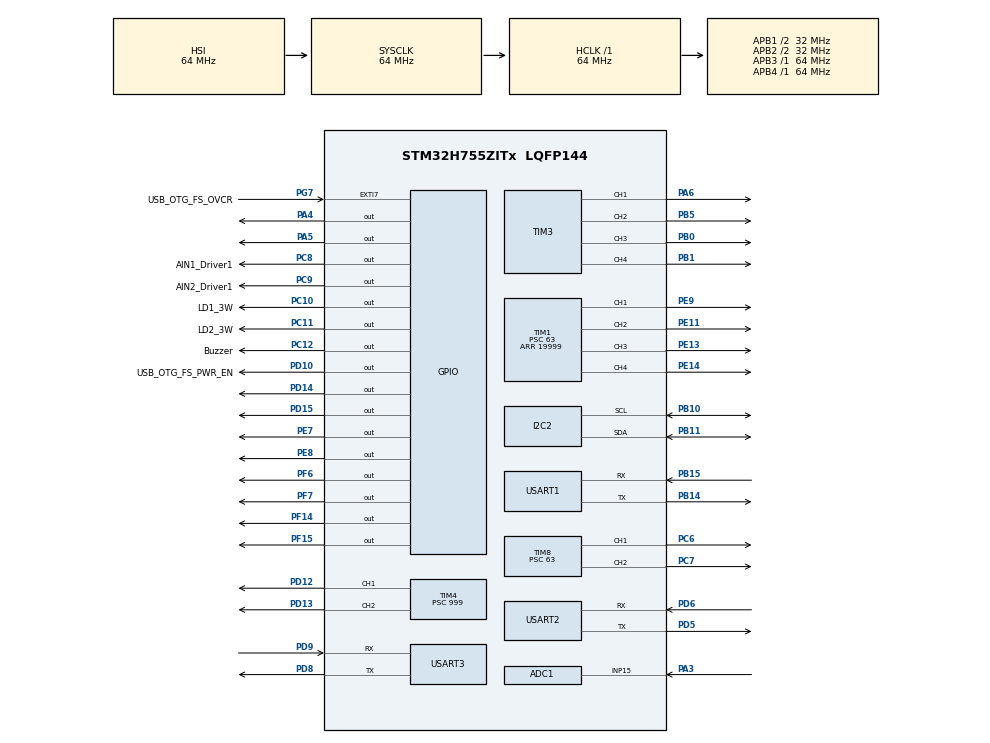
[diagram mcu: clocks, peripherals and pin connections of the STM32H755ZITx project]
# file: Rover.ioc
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ADC1.Channel-0\#ChannelRegularConversion=ADC_CHANNEL_15
ADC1.NbrOfConversionFlag=1
ADC1.OffsetNumber-0\#ChannelRegularConversion=ADC_OFFSET_NONE
ADC1.OffsetSignedSaturation-0\#ChannelRegularConversion=DISABLE
ADC1.Rank-0\#ChannelRegularConversion=1
ADC1.SamplingTime-0\#ChannelRegularConversion=ADC_SAMPLETIME_1CYCLE_5
ADC1.master=1
CortexM4.IPs=FATFS_M4\:I,FREERTOS_M4\:I,IWDG2\:I,RCC,WWDG2\:I,DMA,BDMA,MDMA,NVIC2\:I,ETH,USART3,DEBUG,PDM2PCM_M4\:I,PWR,RESMGR_UTILITY,SYS_M4\:I,USB_DEVICE_M4\:I,USB_HOST_M4\:I,CORTEX_M4\:I,GPIO,OPENAMP_M4\:I,VREFBUF,NUCLEO-H755ZI-Q
CortexM7.IPs=FATFS_M7\:I,FREERTOS_M7\:I,IWDG1\:I,RCC\:I,WWDG1\:I,DMA\:I,BDMA\:I,MDMA\:I,NVIC1\:I,ETH\:I,USART3\:I,USB_OTG_FS\:I,USB_OTG_FS1\:I,SYS\:I,CORTEX_M7\:I,DEBUG\:I,PDM2PCM_M7\:I,PWR\:I,RESMGR_UTILITY\:I,USB_DEVICE_M7\:I,USB_HOST_M7\:I,GPIO\:I,OPENAMP_M7\:I,VREFBUF\:I,NUCLEO-H755ZI-Q\:I,TIM1\:I,TIM3\:I,TIM4\:I,ADC1\:I,I2C2\:I,USART1\:I,USART2\:I,TIM8\:I,TIM6\:I
FREERTOS_M7.Tasks01=defaultTask,24,128,StartDefaultTask,Default,NULL,Dynamic,NULL,NULL
FREERTOS_M7.configUSE_NEWLIB_REENTRANT=1
I2C2.Timing=0x00707CBB
Mcu.Family=STM32H7
Mcu.Name=STM32H755ZITx
Mcu.Package=LQFP144
NVIC1.I2C2_ER_IRQn=true\:5\:0\:false\:false\:true\:true\:true\:true\:true
NVIC1.I2C2_EV_IRQn=true\:5\:0\:false\:false\:true\:true\:true\:true\:true
NVIC1.PriorityGroup=NVIC_PRIORITYGROUP_4
NVIC1.TIM6_DAC_IRQn=true\:15\:0\:false\:false\:true\:false\:false\:true\:true
NVIC1.TimeBase=TIM6_DAC_IRQn
NVIC1.TimeBaseIP=TIM6
NVIC2.PriorityGroup=NVIC_PRIORITYGROUP_4
PA1.PinAttribute=CortexM7
PA1.Signal=ETH_REF_CLK
PA11.PinAttribute=CortexM7
PA11.Signal=USB_OTG_FS_DM
PA12.PinAttribute=CortexM7
PA12.Signal=USB_OTG_FS_DP
PA13\ (JTMS/SWDIO).Mode=Serial_Wire
PA13\ (JTMS/SWDIO).PinAttribute=CortexM7
PA13\ (JTMS/SWDIO).Signal=DEBUG_JTMS-SWDIO
PA14\ (JTCK/SWCLK).Mode=Serial_Wire
PA14\ (JTCK/SWCLK).PinAttribute=CortexM7
PA14\ (JTCK/SWCLK).Signal=DEBUG_JTCK-SWCLK
PA2.PinAttribute=CortexM7
PA2.Signal=ETH_MDIO
PA3.PinAttribute=CortexM7
PA3.Signal=ADCx_INP15
PA4.PinAttribute=Free
PA4.Signal=GPIO_Output
PA5.PinAttribute=Free
PA5.Signal=GPIO_Output
PA6.PinAttribute=CortexM7
PA6.Signal=S_TIM3_CH1
PA7.PinAttribute=CortexM7
PA7.Signal=ETH_CRS_DV
PA8.PinAttribute=CortexM7
PA8.Signal=USB_OTG_FS_SOF
PA9.PinAttribute=CortexM7
PA9.Signal=USB_OTG_FS_VBUS
PB0.PinAttribute=CortexM7
PB0.Signal=S_TIM3_CH3
PB1.PinAttribute=CortexM7
PB1.Signal=S_TIM3_CH4
PB10.Mode=I2C
PB10.PinAttribute=CortexM7
PB10.Signal=I2C2_SCL
PB11.Mode=I2C
PB11.PinAttribute=CortexM7
PB11.Signal=I2C2_SDA
PB13.PinAttribute=CortexM7
PB13.Signal=ETH_TXD1
PB14.Mode=Asynchronous
PB14.PinAttribute=CortexM7
PB14.Signal=USART1_TX
PB15.Mode=Asynchronous
PB15.PinAttribute=CortexM7
PB15.Signal=USART1_RX
PB5.PinAttribute=CortexM7
PB5.Signal=S_TIM3_CH2
PC1.PinAttribute=CortexM7
PC1.Signal=ETH_MDC
PC10.GPIO_Label=LD1_3W
PC10.PinAttribute=Free
PC10.Signal=GPIO_Output
PC11.GPIO_Label=LD2_3W
PC11.PinAttribute=Free
PC11.Signal=GPIO_Output
PC12.GPIO_Label=Buzzer
PC12.PinAttribute=Free
PC12.Signal=GPIO_Output
PC14-OSC32_IN\ (OSC32_IN).PinAttribute=Free
PC14-OSC32_IN\ (OSC32_IN).Signal=RCC_OSC32_IN
PC15-OSC32_OUT\ (OSC32_OUT).PinAttribute=Free
PC15-OSC32_OUT\ (OSC32_OUT).Signal=RCC_OSC32_OUT
PC4.PinAttribute=CortexM7
PC4.Signal=ETH_RXD0
PC5.PinAttribute=CortexM7
PC5.Signal=ETH_RXD1
PC6.PinAttribute=CortexM7
PC6.Signal=S_TIM8_CH1
PC7.PinAttribute=CortexM7
PC7.Signal=S_TIM8_CH2
PC8.GPIO_Label=AIN1_Driver1
PC8.PinAttribute=Free
PC8.Signal=GPIO_Output
PC9.GPIO_Label=AIN2_Driver1
PC9.PinAttribute=Free
PC9.Signal=GPIO_Output
PD10.GPIO_Label=USB_OTG_FS_PWR_EN
PD10.PinAttribute=Free
PD10.Signal=GPIO_Output
PD12.PinAttribute=CortexM7
PD12.Signal=S_TIM4_CH1
PD13.PinAttribute=CortexM7
PD13.Signal=S_TIM4_CH2
PD14.PinAttribute=Free
PD14.Signal=GPIO_Output
PD15.PinAttribute=Free
PD15.Signal=GPIO_Output
PD5.Mode=Asynchronous
PD5.PinAttribute=CortexM7
PD5.Signal=USART2_TX
PD6.Mode=Asynchronous
PD6.PinAttribute=CortexM7
PD6.Signal=USART2_RX
PD8.Mode=Asynchronous
PD8.PinAttribute=CortexM7
PD8.Signal=USART3_TX
PD9.Mode=Asynchronous
PD9.PinAttribute=CortexM7
PD9.Signal=USART3_RX
PE11.PinAttribute=CortexM7
PE11.Signal=S_TIM1_CH2
PE13.PinAttribute=CortexM7
PE13.Signal=S_TIM1_CH3
PE14.PinAttribute=CortexM7
PE14.Signal=S_TIM1_CH4
PE7.PinAttribute=Free
PE7.Signal=GPIO_Output
PE8.PinAttribute=Free
PE8.Signal=GPIO_Output
PE9.PinAttribute=CortexM7
PE9.Signal=S_TIM1_CH1
PF14.PinAttribute=Free
PF14.Signal=GPIO_Output
PF15.PinAttribute=Free
PF15.Signal=GPIO_Output
PF6.PinAttribute=Free
PF6.Signal=GPIO_Output
PF7.PinAttribute=Free
PF7.Signal=GPIO_Output
PG11.PinAttribute=CortexM7
PG11.Signal=ETH_TX_EN
PG13.PinAttribute=CortexM7
PG13.Signal=ETH_TXD0
PG7.GPIO_Label=USB_OTG_FS_OVCR
PG7.PinAttribute=Free
PG7.Signal=GPXTI7
PH0-OSC_IN\ (PH0).PinAttribute=Free
PH0-OSC_IN\ (PH0).Signal=RCC_OSC_IN
PH1-OSC_OUT\ (PH1).PinAttribute=Free
PH1-OSC_OUT\ (PH1).Signal=RCC_OSC_OUT
ProjectManager.HeapSize=M4-0x200,M7-0x200
ProjectManager.StackSize=M4-0x400,M7-0x400
ProjectManager.TargetToolchain=STM32CubeIDE
RCC.ADCFreq_Value=80000000
RCC.APB1Freq_Value=32000000
RCC.APB2Freq_Value=32000000
RCC.APB3Freq_Value=64000000
RCC.APB4Freq_Value=64000000
RCC.CortexFreq_Value=64000000
RCC.D2PPRE1=RCC_APB1_DIV2
RCC.D2PPRE2=RCC_APB2_DIV2
RCC.DIVM1=5
RCC.DIVM2=4
RCC.DIVN1=48
RCC.DIVN2=10
RCC.DIVQ1=5
RCC.DIVR1=4
RCC.HCLKFreq_Value=64000000
RCC.PLL2FRACN=0
RCC.PLL3FRACN=0
RCC.PLLFRACN=0
RCC.SYSCLKFreq_VALUE=64000000
RCC.SupplySource=PWR_DIRECT_SMPS_SUPPLY
RCC.USBFreq_Value=122880000
SH.ADCx_INP15.0=ADC1_INP15,IN15-Single-Ended
SH.S_TIM1_CH1.0=TIM1_CH1,PWM Generation1 CH1
SH.S_TIM1_CH2.0=TIM1_CH2,PWM Generation2 CH2
SH.S_TIM1_CH3.0=TIM1_CH3,PWM Generation3 CH3
SH.S_TIM1_CH4.0=TIM1_CH4,PWM Generation4 CH4
SH.S_TIM3_CH1.0=TIM3_CH1,PWM Generation1 CH1
SH.S_TIM3_CH2.0=TIM3_CH2,PWM Generation2 CH2
SH.S_TIM3_CH3.0=TIM3_CH3,PWM Generation3 CH3
SH.S_TIM3_CH4.0=TIM3_CH4,PWM Generation4 CH4
SH.S_TIM4_CH1.0=TIM4_CH1,PWM Generation1 CH1
SH.S_TIM4_CH2.0=TIM4_CH2,PWM Generation2 CH2
SH.S_TIM8_CH1.0=TIM8_CH1,PWM Generation1 CH1
SH.S_TIM8_CH2.0=TIM8_CH2,PWM Generation2 CH2
TIM1.AutoReloadPreload=TIM_AUTORELOAD_PRELOAD_ENABLE
TIM1.Channel-PWM\ Generation1\ CH1=TIM_CHANNEL_1
TIM1.Channel-PWM\ Generation2\ CH2=TIM_CHANNEL_2
TIM1.Channel-PWM\ Generation3\ CH3=TIM_CHANNEL_3
TIM1.Channel-PWM\ Generation4\ CH4=TIM_CHANNEL_4
TIM1.Period=19999 
TIM1.Prescaler=63
TIM1.Pulse-PWM\ Generation1\ CH1=1500
TIM1.Pulse-PWM\ Generation2\ CH2=1500
TIM1.Pulse-PWM\ Generation3\ CH3=1500
TIM1.Pulse-PWM\ Generation4\ CH4=1500
TIM3.Channel-PWM\ Generation1\ CH1=TIM_CHANNEL_1
TIM3.Channel-PWM\ Generation2\ CH2=TIM_CHANNEL_2
TIM3.Channel-PWM\ Generation3\ CH3=TIM_CHANNEL_3
TIM3.Channel-PWM\ Generation4\ CH4=TIM_CHANNEL_4
TIM4.Channel-PWM\ Generation1\ CH1=TIM_CHANNEL_1
TIM4.Channel-PWM\ Generation2\ CH2=TIM_CHANNEL_2
TIM4.Period=1279
TIM4.Prescaler=999
TIM8.Channel-PWM\ Generation1\ CH1=TIM_CHANNEL_1
TIM8.Channel-PWM\ Generation2\ CH2=TIM_CHANNEL_2
TIM8.Period=19999
TIM8.Prescaler=63
TIM8.Pulse-PWM\ Generation1\ CH1=1500
TIM8.Pulse-PWM\ Generation2\ CH2=1500
USART1.VirtualMode-Asynchronous=VM_ASYNC
USART2.VirtualMode-Asynchronous=VM_ASYNC
USART3.VirtualMode-Asynchronous=VM_ASYNC
VP_FREERTOS_M7_VS_CMSIS_V2.Mode=CMSIS_V2
VP_SYS_M4_VS_Systick.Mode=SysTick
VP_SYS_VS_tim6.Mode=TIM6
VP_TIM1_VS_ClockSourceINT.Mode=Internal
VP_TIM3_VS_ClockSourceINT.Mode=Internal
VP_TIM4_VS_ClockSourceINT.Mode=Internal
VP_TIM8_VS_ClockSourceINT.Mode=Internal
board=NUCLEO-H755ZI-Q

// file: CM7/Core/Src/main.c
/* USER CODE BEGIN Header */
/**
  ******************************************************************************
  * @file           : main.c
  * @brief          : Main program body
  ******************************************************************************
  * @attention
  *
  * Copyright (c) 2026 STMicroelectronics.
  * All rights reserved.
  *
  * This software is licensed under terms that can be found in the LICENSE file
  * in the root directory of this software component.
  * If no LICENSE file comes with this software, it is provided AS-IS.
  *
  ******************************************************************************
  */
/* USER CODE END Header */
#include "main.h"
#include "FreeRTOS.h"
#include "cmsis_os2.h"

/* USER CODE BEGIN Includes */

#include "servo_controller.h"

/* USER CODE END Includes */

/* USER CODE BEGIN PD */

/* DUAL_CORE_BOOT_SYNC_SEQUENCE: Define for dual core boot synchronization    */
/*                             demonstration code based on hardware semaphore */
/* This define is present in both CM7/CM4 projects                            */
/* To comment when developping/debugging on a single core                     */
#define DUAL_CORE_BOOT_SYNC_SEQUENCE

#if defined(DUAL_CORE_BOOT_SYNC_SEQUENCE)
#ifndef HSEM_ID_0
#define HSEM_ID_0 (0U) /* HW semaphore 0*/
#endif
#endif /* DUAL_CORE_BOOT_SYNC_SEQUENCE */

/* USER CODE END PD */

ADC_HandleTypeDef hadc1;

I2C_HandleTypeDef hi2c2;

TIM_HandleTypeDef htim1;
TIM_HandleTypeDef htim3;
TIM_HandleTypeDef htim4;
TIM_HandleTypeDef htim8;

UART_HandleTypeDef huart1;
UART_HandleTypeDef huart2;
UART_HandleTypeDef huart3;

/* Definitions for defaultTask */
osThreadId_t defaultTaskHandle;
const osThreadAttr_t defaultTask_attributes = {
  .name = "defaultTask",
  .stack_size = 128 * 4,
  .priority = (osPriority_t) osPriorityNormal,
};
/* USER CODE BEGIN PV */

SteeringAngles steering_angles = {
		.front_right = 90,
		.front_left = 90,
		.rear_right = 90,
		.rear_left = 90
};

uint8_t angle_soil_sensor_servos = 90; //Posición Inicial de 90°

uint8_t dc_motors_forward_duty_cycle = 0;
uint8_t dc_motors_backwards_duty_cycle = 0;

const uint16_t ARR = 1279;

/* USER CODE END PV */

void SystemClock_Config(void);
static void MX_GPIO_Init(void);
static void MX_ADC1_Init(void);
static void MX_I2C2_Init(void);
static void MX_TIM1_Init(void);
static void MX_TIM3_Init(void);
static void MX_TIM4_Init(void);
static void MX_TIM8_Init(void);
static void MX_USART1_UART_Init(void);
static void MX_USART2_UART_Init(void);
static void MX_USART3_UART_Init(void);
void StartDefaultTask(void *argument);

int main(void)
{

/* USER CODE BEGIN Boot_Mode_Sequence_0 */
#if defined(DUAL_CORE_BOOT_SYNC_SEQUENCE)
  int32_t timeout;
#endif /* DUAL_CORE_BOOT_SYNC_SEQUENCE */
/* USER CODE END Boot_Mode_Sequence_0 */

/* USER CODE BEGIN Boot_Mode_Sequence_1 */
#if defined(DUAL_CORE_BOOT_SYNC_SEQUENCE)
  /* Wait until CPU2 boots and enters in stop mode or timeout*/
  timeout = 0xFFFF;
  while((__HAL_RCC_GET_FLAG(RCC_FLAG_D2CKRDY) != RESET) && (timeout-- > 0));
  if ( timeout < 0 )
  {
  Error_Handler();
  }
#endif /* DUAL_CORE_BOOT_SYNC_SEQUENCE */
/* USER CODE END Boot_Mode_Sequence_1 */
  /* MCU Configuration--------------------------------------------------------*/

  /* Reset of all peripherals, Initializes the Flash interface and the Systick. */
  HAL_Init();

  /* Configure the system clock */
  SystemClock_Config();
/* USER CODE BEGIN Boot_Mode_Sequence_2 */
#if defined(DUAL_CORE_BOOT_SYNC_SEQUENCE)
/* When system initialization is finished, Cortex-M7 will release Cortex-M4 by means of
HSEM notification */
/*HW semaphore Clock enable*/
__HAL_RCC_HSEM_CLK_ENABLE();
/*Take HSEM */
HAL_HSEM_FastTake(HSEM_ID_0);
/*Release HSEM in order to notify the CPU2(CM4)*/
HAL_HSEM_Release(HSEM_ID_0,0);
/* wait until CPU2 wakes up from stop mode */
timeout = 0xFFFF;
while((__HAL_RCC_GET_FLAG(RCC_FLAG_D2CKRDY) == RESET) && (timeout-- > 0));
if ( timeout < 0 )
{
Error_Handler();
}
#endif /* DUAL_CORE_BOOT_SYNC_SEQUENCE */
/* USER CODE END Boot_Mode_Sequence_2 */

  /* Initialize all configured peripherals */
  MX_GPIO_Init();
  MX_ADC1_Init();
  MX_I2C2_Init();
  MX_TIM1_Init();
  MX_TIM3_Init();
  MX_TIM4_Init();
  MX_TIM8_Init();
  MX_USART1_UART_Init();
  MX_USART2_UART_Init();
  MX_USART3_UART_Init();
  /* USER CODE BEGIN 2 */

  ServoMotors_PWM_Init(&htim1);
  TIM_OC_InitTypeDef sConfigOC = {0};

  /* USER CODE END 2 */

  /* Init scheduler */
  osKernelInitialize();

  /* Create the thread(s) */
  /* creation of defaultTask */
  defaultTaskHandle = osThreadNew(StartDefaultTask, NULL, &defaultTask_attributes);

  /* Start scheduler */
  osKernelStart();

  /* We should never get here as control is now taken by the scheduler */

  /* Infinite loop */
  while (1)
  {

    /* USER CODE BEGIN 3 */

	  for (int i = 0; i < 9;  i++) { steering_angles = ChangeRoverDirection(&htim1, &sConfigOC, steering_angles, RIGHT); HAL_Delay(110); }
	  for (int i = 0; i < 18; i++) { steering_angles = ChangeRoverDirection(&htim1, &sConfigOC, steering_angles, LEFT);  HAL_Delay(110); }
	  for (int i = 0; i < 9;  i++) { steering_angles = ChangeRoverDirection(&htim1, &sConfigOC, steering_angles, RIGHT); HAL_Delay(110); }

  }
  /* USER CODE END 3 */
}

void SystemClock_Config(void)
{
  RCC_OscInitTypeDef RCC_OscInitStruct = {0};
  RCC_ClkInitTypeDef RCC_ClkInitStruct = {0};

  /** Supply configuration update enable
  */
  HAL_PWREx_ConfigSupply(PWR_DIRECT_SMPS_SUPPLY);

  /** Configure the main internal regulator output voltage
  */
  __HAL_PWR_VOLTAGESCALING_CONFIG(PWR_REGULATOR_VOLTAGE_SCALE3);

  while(!__HAL_PWR_GET_FLAG(PWR_FLAG_VOSRDY)) {}

  /** Macro to configure the PLL clock source
  */
  __HAL_RCC_PLL_PLLSOURCE_CONFIG(RCC_PLLSOURCE_HSI);

  /** Initializes the RCC Oscillators according to the specified parameters
  * in the RCC_OscInitTypeDef structure.
  */
  RCC_OscInitStruct.OscillatorType = RCC_OSCILLATORTYPE_HSI;
  RCC_OscInitStruct.HSIState = RCC_HSI_DIV1;
  RCC_OscInitStruct.HSICalibrationValue = RCC_HSICALIBRATION_DEFAULT;
  RCC_OscInitStruct.PLL.PLLState = RCC_PLL_NONE;
  if (HAL_RCC_OscConfig(&RCC_OscInitStruct) != HAL_OK)
  {
    Error_Handler();
  }

  /** Initializes the CPU, AHB and APB buses clocks
  */
  RCC_ClkInitStruct.ClockType = RCC_CLOCKTYPE_HCLK|RCC_CLOCKTYPE_SYSCLK
                              |RCC_CLOCKTYPE_PCLK1|RCC_CLOCKTYPE_PCLK2
                              |RCC_CLOCKTYPE_D3PCLK1|RCC_CLOCKTYPE_D1PCLK1;
  RCC_ClkInitStruct.SYSCLKSource = RCC_SYSCLKSOURCE_HSI;
  RCC_ClkInitStruct.SYSCLKDivider = RCC_SYSCLK_DIV1;
  RCC_ClkInitStruct.AHBCLKDivider = RCC_HCLK_DIV1;
  RCC_ClkInitStruct.APB3CLKDivider = RCC_APB3_DIV1;
  RCC_ClkInitStruct.APB1CLKDivider = RCC_APB1_DIV2;
  RCC_ClkInitStruct.APB2CLKDivider = RCC_APB2_DIV2;
  RCC_ClkInitStruct.APB4CLKDivider = RCC_APB4_DIV1;

  if (HAL_RCC_ClockConfig(&RCC_ClkInitStruct, FLASH_LATENCY_1) != HAL_OK)
  {
    Error_Handler();
  }
}

static void MX_ADC1_Init(void)
{

  ADC_MultiModeTypeDef multimode = {0};
  ADC_ChannelConfTypeDef sConfig = {0};

  /** Common config
  */
  hadc1.Instance = ADC1;
  hadc1.Init.ClockPrescaler = ADC_CLOCK_ASYNC_DIV2;
  hadc1.Init.Resolution = ADC_RESOLUTION_16B;
  hadc1.Init.ScanConvMode = ADC_SCAN_DISABLE;
  hadc1.Init.EOCSelection = ADC_EOC_SINGLE_CONV;
  hadc1.Init.LowPowerAutoWait = DISABLE;
  hadc1.Init.ContinuousConvMode = DISABLE;
  hadc1.Init.NbrOfConversion = 1;
  hadc1.Init.DiscontinuousConvMode = DISABLE;
  hadc1.Init.ExternalTrigConv = ADC_SOFTWARE_START;
  hadc1.Init.ExternalTrigConvEdge = ADC_EXTERNALTRIGCONVEDGE_NONE;
  hadc1.Init.ConversionDataManagement = ADC_CONVERSIONDATA_DR;
  hadc1.Init.Overrun = ADC_OVR_DATA_PRESERVED;
  hadc1.Init.LeftBitShift = ADC_LEFTBITSHIFT_NONE;
  hadc1.Init.OversamplingMode = DISABLE;
  hadc1.Init.Oversampling.Ratio = 1;
  if (HAL_ADC_Init(&hadc1) != HAL_OK)
  {
    Error_Handler();
  }

  /** Configure the ADC multi-mode
  */
  multimode.Mode = ADC_MODE_INDEPENDENT;
  if (HAL_ADCEx_MultiModeConfigChannel(&hadc1, &multimode) != HAL_OK)
  {
    Error_Handler();
  }

  /** Configure Regular Channel
  */
  sConfig.Channel = ADC_CHANNEL_15;
  sConfig.Rank = ADC_REGULAR_RANK_1;
  sConfig.SamplingTime = ADC_SAMPLETIME_1CYCLE_5;
  sConfig.SingleDiff = ADC_SINGLE_ENDED;
  sConfig.OffsetNumber = ADC_OFFSET_NONE;
  sConfig.Offset = 0;
  sConfig.OffsetSignedSaturation = DISABLE;
  if (HAL_ADC_ConfigChannel(&hadc1, &sConfig) != HAL_OK)
  {
    Error_Handler();
  }

}

static void MX_I2C2_Init(void)
{

  hi2c2.Instance = I2C2;
  hi2c2.Init.Timing = 0x00707CBB;
  hi2c2.Init.OwnAddress1 = 0;
  hi2c2.Init.AddressingMode = I2C_ADDRESSINGMODE_7BIT;
  hi2c2.Init.DualAddressMode = I2C_DUALADDRESS_DISABLE;
  hi2c2.Init.OwnAddress2 = 0;
  hi2c2.Init.OwnAddress2Masks = I2C_OA2_NOMASK;
  hi2c2.Init.GeneralCallMode = I2C_GENERALCALL_DISABLE;
  hi2c2.Init.NoStretchMode = I2C_NOSTRETCH_DISABLE;
  if (HAL_I2C_Init(&hi2c2) != HAL_OK)
  {
    Error_Handler();
  }

  /** Configure Analogue filter
  */
  if (HAL_I2CEx_ConfigAnalogFilter(&hi2c2, I2C_ANALOGFILTER_ENABLE) != HAL_OK)
  {
    Error_Handler();
  }

  /** Configure Digital filter
  */
  if (HAL_I2CEx_ConfigDigitalFilter(&hi2c2, 0) != HAL_OK)
  {
    Error_Handler();
  }

}

static void MX_TIM1_Init(void)
{

  TIM_ClockConfigTypeDef sClockSourceConfig = {0};
  TIM_MasterConfigTypeDef sMasterConfig = {0};
  TIM_OC_InitTypeDef sConfigOC = {0};
  TIM_BreakDeadTimeConfigTypeDef sBreakDeadTimeConfig = {0};

  htim1.Instance = TIM1;
  htim1.Init.Prescaler = 63;
  htim1.Init.CounterMode = TIM_COUNTERMODE_UP;
  htim1.Init.Period = 19999 ;
  htim1.Init.ClockDivision = TIM_CLOCKDIVISION_DIV1;
  htim1.Init.RepetitionCounter = 0;
  htim1.Init.AutoReloadPreload = TIM_AUTORELOAD_PRELOAD_ENABLE;
  if (HAL_TIM_Base_Init(&htim1) != HAL_OK)
  {
    Error_Handler();
  }
  sClockSourceConfig.ClockSource = TIM_CLOCKSOURCE_INTERNAL;
  if (HAL_TIM_ConfigClockSource(&htim1, &sClockSourceConfig) != HAL_OK)
  {
    Error_Handler();
  }
  if (HAL_TIM_PWM_Init(&htim1) != HAL_OK)
  {
    Error_Handler();
  }
  sMasterConfig.MasterOutputTrigger = TIM_TRGO_RESET;
  sMasterConfig.MasterOutputTrigger2 = TIM_TRGO2_RESET;
  sMasterConfig.MasterSlaveMode = TIM_MASTERSLAVEMODE_DISABLE;
  if (HAL_TIMEx_MasterConfigSynchronization(&htim1, &sMasterConfig) != HAL_OK)
  {
    Error_Handler();
  }
  sConfigOC.OCMode = TIM_OCMODE_PWM1;
  sConfigOC.Pulse = 1500;
  sConfigOC.OCPolarity = TIM_OCPOLARITY_HIGH;
  sConfigOC.OCNPolarity = TIM_OCNPOLARITY_HIGH;
  sConfigOC.OCFastMode = TIM_OCFAST_DISABLE;
  sConfigOC.OCIdleState = TIM_OCIDLESTATE_RESET;
  sConfigOC.OCNIdleState = TIM_OCNIDLESTATE_RESET;
  if (HAL_TIM_PWM_ConfigChannel(&htim1, &sConfigOC, TIM_CHANNEL_1) != HAL_OK)
  {
    Error_Handler();
  }
  if (HAL_TIM_PWM_ConfigChannel(&htim1, &sConfigOC, TIM_CHANNEL_2) != HAL_OK)
  {
    Error_Handler();
  }
  if (HAL_TIM_PWM_ConfigChannel(&htim1, &sConfigOC, TIM_CHANNEL_3) != HAL_OK)
  {
    Error_Handler();
  }
  if (HAL_TIM_PWM_ConfigChannel(&htim1, &sConfigOC, TIM_CHANNEL_4) != HAL_OK)
  {
    Error_Handler();
  }
  sBreakDeadTimeConfig.OffStateRunMode = TIM_OSSR_DISABLE;
  sBreakDeadTimeConfig.OffStateIDLEMode = TIM_OSSI_DISABLE;
  sBreakDeadTimeConfig.LockLevel = TIM_LOCKLEVEL_OFF;
  sBreakDeadTimeConfig.DeadTime = 0;
  sBreakDeadTimeConfig.BreakState = TIM_BREAK_DISABLE;
  sBreakDeadTimeConfig.BreakPolarity = TIM_BREAKPOLARITY_HIGH;
  sBreakDeadTimeConfig.BreakFilter = 0;
  sBreakDeadTimeConfig.Break2State = TIM_BREAK2_DISABLE;
  sBreakDeadTimeConfig.Break2Polarity = TIM_BREAK2POLARITY_HIGH;
  sBreakDeadTimeConfig.Break2Filter = 0;
  sBreakDeadTimeConfig.AutomaticOutput = TIM_AUTOMATICOUTPUT_DISABLE;
  if (HAL_TIMEx_ConfigBreakDeadTime(&htim1, &sBreakDeadTimeConfig) != HAL_OK)
  {
    Error_Handler();
  }
  HAL_TIM_MspPostInit(&htim1);

}

static void MX_TIM3_Init(void)
{

  TIM_ClockConfigTypeDef sClockSourceConfig = {0};
  TIM_MasterConfigTypeDef sMasterConfig = {0};
  TIM_OC_InitTypeDef sConfigOC = {0};

  htim3.Instance = TIM3;
  htim3.Init.Prescaler = 0;
  htim3.Init.CounterMode = TIM_COUNTERMODE_UP;
  htim3.Init.Period = 65535;
  htim3.Init.ClockDivision = TIM_CLOCKDIVISION_DIV1;
  htim3.Init.AutoReloadPreload = TIM_AUTORELOAD_PRELOAD_DISABLE;
  if (HAL_TIM_Base_Init(&htim3) != HAL_OK)
  {
    Error_Handler();
  }
  sClockSourceConfig.ClockSource = TIM_CLOCKSOURCE_INTERNAL;
  if (HAL_TIM_ConfigClockSource(&htim3, &sClockSourceConfig) != HAL_OK)
  {
    Error_Handler();
  }
  if (HAL_TIM_PWM_Init(&htim3) != HAL_OK)
  {
    Error_Handler();
  }
  sMasterConfig.MasterOutputTrigger = TIM_TRGO_RESET;
  sMasterConfig.MasterSlaveMode = TIM_MASTERSLAVEMODE_DISABLE;
  if (HAL_TIMEx_MasterConfigSynchronization(&htim3, &sMasterConfig) != HAL_OK)
  {
    Error_Handler();
  }
  sConfigOC.OCMode = TIM_OCMODE_PWM1;
  sConfigOC.Pulse = 0;
  sConfigOC.OCPolarity = TIM_OCPOLARITY_HIGH;
  sConfigOC.OCFastMode = TIM_OCFAST_DISABLE;
  if (HAL_TIM_PWM_ConfigChannel(&htim3, &sConfigOC, TIM_CHANNEL_1) != HAL_OK)
  {
    Error_Handler();
  }
  if (HAL_TIM_PWM_ConfigChannel(&htim3, &sConfigOC, TIM_CHANNEL_2) != HAL_OK)
  {
    Error_Handler();
  }
  if (HAL_TIM_PWM_ConfigChannel(&htim3, &sConfigOC, TIM_CHANNEL_3) != HAL_OK)
  {
    Error_Handler();
  }
  if (HAL_TIM_PWM_ConfigChannel(&htim3, &sConfigOC, TIM_CHANNEL_4) != HAL_OK)
  {
    Error_Handler();
  }
  HAL_TIM_MspPostInit(&htim3);

}

static void MX_TIM4_Init(void)
{

  TIM_ClockConfigTypeDef sClockSourceConfig = {0};
  TIM_MasterConfigTypeDef sMasterConfig = {0};
  TIM_OC_InitTypeDef sConfigOC = {0};

  htim4.Instance = TIM4;
  htim4.Init.Prescaler = 0;
  htim4.Init.CounterMode = TIM_COUNTERMODE_UP;
  htim4.Init.Period = 65535;
  htim4.Init.ClockDivision = TIM_CLOCKDIVISION_DIV1;
  htim4.Init.AutoReloadPreload = TIM_AUTORELOAD_PRELOAD_DISABLE;
  if (HAL_TIM_Base_Init(&htim4) != HAL_OK)
  {
    Error_Handler();
  }
  sClockSourceConfig.ClockSource = TIM_CLOCKSOURCE_INTERNAL;
  if (HAL_TIM_ConfigClockSource(&htim4, &sClockSourceConfig) != HAL_OK)
  {
    Error_Handler();
  }
  if (HAL_TIM_PWM_Init(&htim4) != HAL_OK)
  {
    Error_Handler();
  }
  sMasterConfig.MasterOutputTrigger = TIM_TRGO_RESET;
  sMasterConfig.MasterSlaveMode = TIM_MASTERSLAVEMODE_DISABLE;
  if (HAL_TIMEx_MasterConfigSynchronization(&htim4, &sMasterConfig) != HAL_OK)
  {
    Error_Handler();
  }
  sConfigOC.OCMode = TIM_OCMODE_PWM1;
  sConfigOC.Pulse = 0;
  sConfigOC.OCPolarity = TIM_OCPOLARITY_HIGH;
  sConfigOC.OCFastMode = TIM_OCFAST_DISABLE;
  if (HAL_TIM_PWM_ConfigChannel(&htim4, &sConfigOC, TIM_CHANNEL_1) != HAL_OK)
  {
    Error_Handler();
  }
  if (HAL_TIM_PWM_ConfigChannel(&htim4, &sConfigOC, TIM_CHANNEL_2) != HAL_OK)
  {
    Error_Handler();
  }
  HAL_TIM_MspPostInit(&htim4);

}

static void MX_TIM8_Init(void)
{

  TIM_ClockConfigTypeDef sClockSourceConfig = {0};
  TIM_MasterConfigTypeDef sMasterConfig = {0};
  TIM_OC_InitTypeDef sConfigOC = {0};
  TIM_BreakDeadTimeConfigTypeDef sBreakDeadTimeConfig = {0};

  htim8.Instance = TIM8;
  htim8.Init.Prescaler = 63;
  htim8.Init.CounterMode = TIM_COUNTERMODE_UP;
  htim8.Init.Period = 19999;
  htim8.Init.ClockDivision = TIM_CLOCKDIVISION_DIV1;
  htim8.Init.RepetitionCounter = 0;
  htim8.Init.AutoReloadPreload = TIM_AUTORELOAD_PRELOAD_DISABLE;
  if (HAL_TIM_Base_Init(&htim8) != HAL_OK)
  {
    Error_Handler();
  }
  sClockSourceConfig.ClockSource = TIM_CLOCKSOURCE_INTERNAL;
  if (HAL_TIM_ConfigClockSource(&htim8, &sClockSourceConfig) != HAL_OK)
  {
    Error_Handler();
  }
  if (HAL_TIM_PWM_Init(&htim8) != HAL_OK)
  {
    Error_Handler();
  }
  sMasterConfig.MasterOutputTrigger = TIM_TRGO_RESET;
  sMasterConfig.MasterOutputTrigger2 = TIM_TRGO2_RESET;
  sMasterConfig.MasterSlaveMode = TIM_MASTERSLAVEMODE_DISABLE;
  if (HAL_TIMEx_MasterConfigSynchronization(&htim8, &sMasterConfig) != HAL_OK)
  {
    Error_Handler();
  }
  sConfigOC.OCMode = TIM_OCMODE_PWM1;
  sConfigOC.Pulse = 1500;
  sConfigOC.OCPolarity = TIM_OCPOLARITY_HIGH;
  sConfigOC.OCNPolarity = TIM_OCNPOLARITY_HIGH;
  sConfigOC.OCFastMode = TIM_OCFAST_DISABLE;
  sConfigOC.OCIdleState = TIM_OCIDLESTATE_RESET;
  sConfigOC.OCNIdleState = TIM_OCNIDLESTATE_RESET;
  if (HAL_TIM_PWM_ConfigChannel(&htim8, &sConfigOC, TIM_CHANNEL_1) != HAL_OK)
  {
    Error_Handler();
  }
  if (HAL_TIM_PWM_ConfigChannel(&htim8, &sConfigOC, TIM_CHANNEL_2) != HAL_OK)
  {
    Error_Handler();
  }
  sBreakDeadTimeConfig.OffStateRunMode = TIM_OSSR_DISABLE;
  sBreakDeadTimeConfig.OffStateIDLEMode = TIM_OSSI_DISABLE;
  sBreakDeadTimeConfig.LockLevel = TIM_LOCKLEVEL_OFF;
  sBreakDeadTimeConfig.DeadTime = 0;
  sBreakDeadTimeConfig.BreakState = TIM_BREAK_DISABLE;
  sBreakDeadTimeConfig.BreakPolarity = TIM_BREAKPOLARITY_HIGH;
  sBreakDeadTimeConfig.BreakFilter = 0;
  sBreakDeadTimeConfig.Break2State = TIM_BREAK2_DISABLE;
  sBreakDeadTimeConfig.Break2Polarity = TIM_BREAK2POLARITY_HIGH;
  sBreakDeadTimeConfig.Break2Filter = 0;
  sBreakDeadTimeConfig.AutomaticOutput = TIM_AUTOMATICOUTPUT_DISABLE;
  if (HAL_TIMEx_ConfigBreakDeadTime(&htim8, &sBreakDeadTimeConfig) != HAL_OK)
  {
    Error_Handler();
  }
  HAL_TIM_MspPostInit(&htim8);

}

static void MX_USART1_UART_Init(void)
{

  huart1.Instance = USART1;
  huart1.Init.BaudRate = 115200;
  huart1.Init.WordLength = UART_WORDLENGTH_8B;
  huart1.Init.StopBits = UART_STOPBITS_1;
  huart1.Init.Parity = UART_PARITY_NONE;
  huart1.Init.Mode = UART_MODE_TX_RX;
  huart1.Init.HwFlowCtl = UART_HWCONTROL_NONE;
  huart1.Init.OverSampling = UART_OVERSAMPLING_16;
  huart1.Init.OneBitSampling = UART_ONE_BIT_SAMPLE_DISABLE;
  huart1.Init.ClockPrescaler = UART_PRESCALER_DIV1;
  huart1.AdvancedInit.AdvFeatureInit = UART_ADVFEATURE_NO_INIT;
  if (HAL_UART_Init(&huart1) != HAL_OK)
  {
    Error_Handler();
  }
  if (HAL_UARTEx_SetTxFifoThreshold(&huart1, UART_TXFIFO_THRESHOLD_1_8) != HAL_OK)
  {
    Error_Handler();
  }
  if (HAL_UARTEx_SetRxFifoThreshold(&huart1, UART_RXFIFO_THRESHOLD_1_8) != HAL_OK)
  {
    Error_Handler();
  }
  if (HAL_UARTEx_DisableFifoMode(&huart1) != HAL_OK)
  {
    Error_Handler();
  }

}

static void MX_USART2_UART_Init(void)
{

  huart2.Instance = USART2;
  huart2.Init.BaudRate = 115200;
  huart2.Init.WordLength = UART_WORDLENGTH_8B;
  huart2.Init.StopBits = UART_STOPBITS_1;
  huart2.Init.Parity = UART_PARITY_NONE;
  huart2.Init.Mode = UART_MODE_TX_RX;
  huart2.Init.HwFlowCtl = UART_HWCONTROL_NONE;
  huart2.Init.OverSampling = UART_OVERSAMPLING_16;
  huart2.Init.OneBitSampling = UART_ONE_BIT_SAMPLE_DISABLE;
  huart2.Init.ClockPrescaler = UART_PRESCALER_DIV1;
  huart2.AdvancedInit.AdvFeatureInit = UART_ADVFEATURE_NO_INIT;
  if (HAL_UART_Init(&huart2) != HAL_OK)
  {
    Error_Handler();
  }
  if (HAL_UARTEx_SetTxFifoThreshold(&huart2, UART_TXFIFO_THRESHOLD_1_8) != HAL_OK)
  {
    Error_Handler();
  }
  if (HAL_UARTEx_SetRxFifoThreshold(&huart2, UART_RXFIFO_THRESHOLD_1_8) != HAL_OK)
  {
    Error_Handler();
  }
  if (HAL_UARTEx_DisableFifoMode(&huart2) != HAL_OK)
  {
    Error_Handler();
  }

}

static void MX_USART3_UART_Init(void)
{

  huart3.Instance = USART3;
  huart3.Init.BaudRate = 115200;
  huart3.Init.WordLength = UART_WORDLENGTH_8B;
  huart3.Init.StopBits = UART_STOPBITS_1;
  huart3.Init.Parity = UART_PARITY_NONE;
  huart3.Init.Mode = UART_MODE_TX_RX;
  huart3.Init.HwFlowCtl = UART_HWCONTROL_NONE;
  huart3.Init.OverSampling = UART_OVERSAMPLING_16;
  huart3.Init.OneBitSampling = UART_ONE_BIT_SAMPLE_DISABLE;
  huart3.Init.ClockPrescaler = UART_PRESCALER_DIV1;
  huart3.AdvancedInit.AdvFeatureInit = UART_ADVFEATURE_NO_INIT;
  if (HAL_UART_Init(&huart3) != HAL_OK)
  {
    Error_Handler();
  }
  if (HAL_UARTEx_SetTxFifoThreshold(&huart3, UART_TXFIFO_THRESHOLD_1_8) != HAL_OK)
  {
    Error_Handler();
  }
  if (HAL_UARTEx_SetRxFifoThreshold(&huart3, UART_RXFIFO_THRESHOLD_1_8) != HAL_OK)
  {
    Error_Handler();
  }
  if (HAL_UARTEx_DisableFifoMode(&huart3) != HAL_OK)
  {
    Error_Handler();
  }

}

static void MX_GPIO_Init(void)
{
  GPIO_InitTypeDef GPIO_InitStruct = {0};

  /* GPIO Ports Clock Enable */
  __HAL_RCC_GPIOC_CLK_ENABLE();
  __HAL_RCC_GPIOA_CLK_ENABLE();
  __HAL_RCC_GPIOB_CLK_ENABLE();
  __HAL_RCC_GPIOE_CLK_ENABLE();
  __HAL_RCC_GPIOD_CLK_ENABLE();
  __HAL_RCC_GPIOG_CLK_ENABLE();

  /*Configure GPIO pins : PC1 PC4 PC5 */
  GPIO_InitStruct.Pin = GPIO_PIN_1|GPIO_PIN_4|GPIO_PIN_5;
  GPIO_InitStruct.Mode = GPIO_MODE_AF_PP;
  GPIO_InitStruct.Pull = GPIO_NOPULL;
  GPIO_InitStruct.Speed = GPIO_SPEED_FREQ_HIGH;
  GPIO_InitStruct.Alternate = GPIO_AF11_ETH;
  HAL_GPIO_Init(GPIOC, &GPIO_InitStruct);

  /*Configure GPIO pins : PA1 PA2 PA7 */
  GPIO_InitStruct.Pin = GPIO_PIN_1|GPIO_PIN_2|GPIO_PIN_7;
  GPIO_InitStruct.Mode = GPIO_MODE_AF_PP;
  GPIO_InitStruct.Pull = GPIO_NOPULL;
  GPIO_InitStruct.Speed = GPIO_SPEED_FREQ_HIGH;
  GPIO_InitStruct.Alternate = GPIO_AF11_ETH;
  HAL_GPIO_Init(GPIOA, &GPIO_InitStruct);

  /*Configure GPIO pin : PB13 */
  GPIO_InitStruct.Pin = GPIO_PIN_13;
  GPIO_InitStruct.Mode = GPIO_MODE_AF_PP;
  GPIO_InitStruct.Pull = GPIO_NOPULL;
  GPIO_InitStruct.Speed = GPIO_SPEED_FREQ_HIGH;
  GPIO_InitStruct.Alternate = GPIO_AF11_ETH;
  HAL_GPIO_Init(GPIOB, &GPIO_InitStruct);

  /*Configure GPIO pins : PA8 PA11 PA12 */
  GPIO_InitStruct.Pin = GPIO_PIN_8|GPIO_PIN_11|GPIO_PIN_12;
  GPIO_InitStruct.Mode = GPIO_MODE_AF_PP;
  GPIO_InitStruct.Pull = GPIO_NOPULL;
  GPIO_InitStruct.Speed = GPIO_SPEED_FREQ_LOW;
  GPIO_InitStruct.Alternate = GPIO_AF10_OTG1_FS;
  HAL_GPIO_Init(GPIOA, &GPIO_InitStruct);

  /*Configure GPIO pins : PG11 PG13 */
  GPIO_InitStruct.Pin = GPIO_PIN_11|GPIO_PIN_13;
  GPIO_InitStruct.Mode = GPIO_MODE_AF_PP;
  GPIO_InitStruct.Pull = GPIO_NOPULL;
  GPIO_InitStruct.Speed = GPIO_SPEED_FREQ_HIGH;
  GPIO_InitStruct.Alternate = GPIO_AF11_ETH;
  HAL_GPIO_Init(GPIOG, &GPIO_InitStruct);

}

void StartDefaultTask(void *argument)
{
  for(;;)
  {
    osDelay(1);
  }
}

void HAL_TIM_PeriodElapsedCallback(TIM_HandleTypeDef *htim)
{
  if (htim->Instance == TIM6)
  {
    HAL_IncTick();
  }
}

void Error_Handler(void)
{
  __disable_irq();
  while (1)
  {
  }
}
